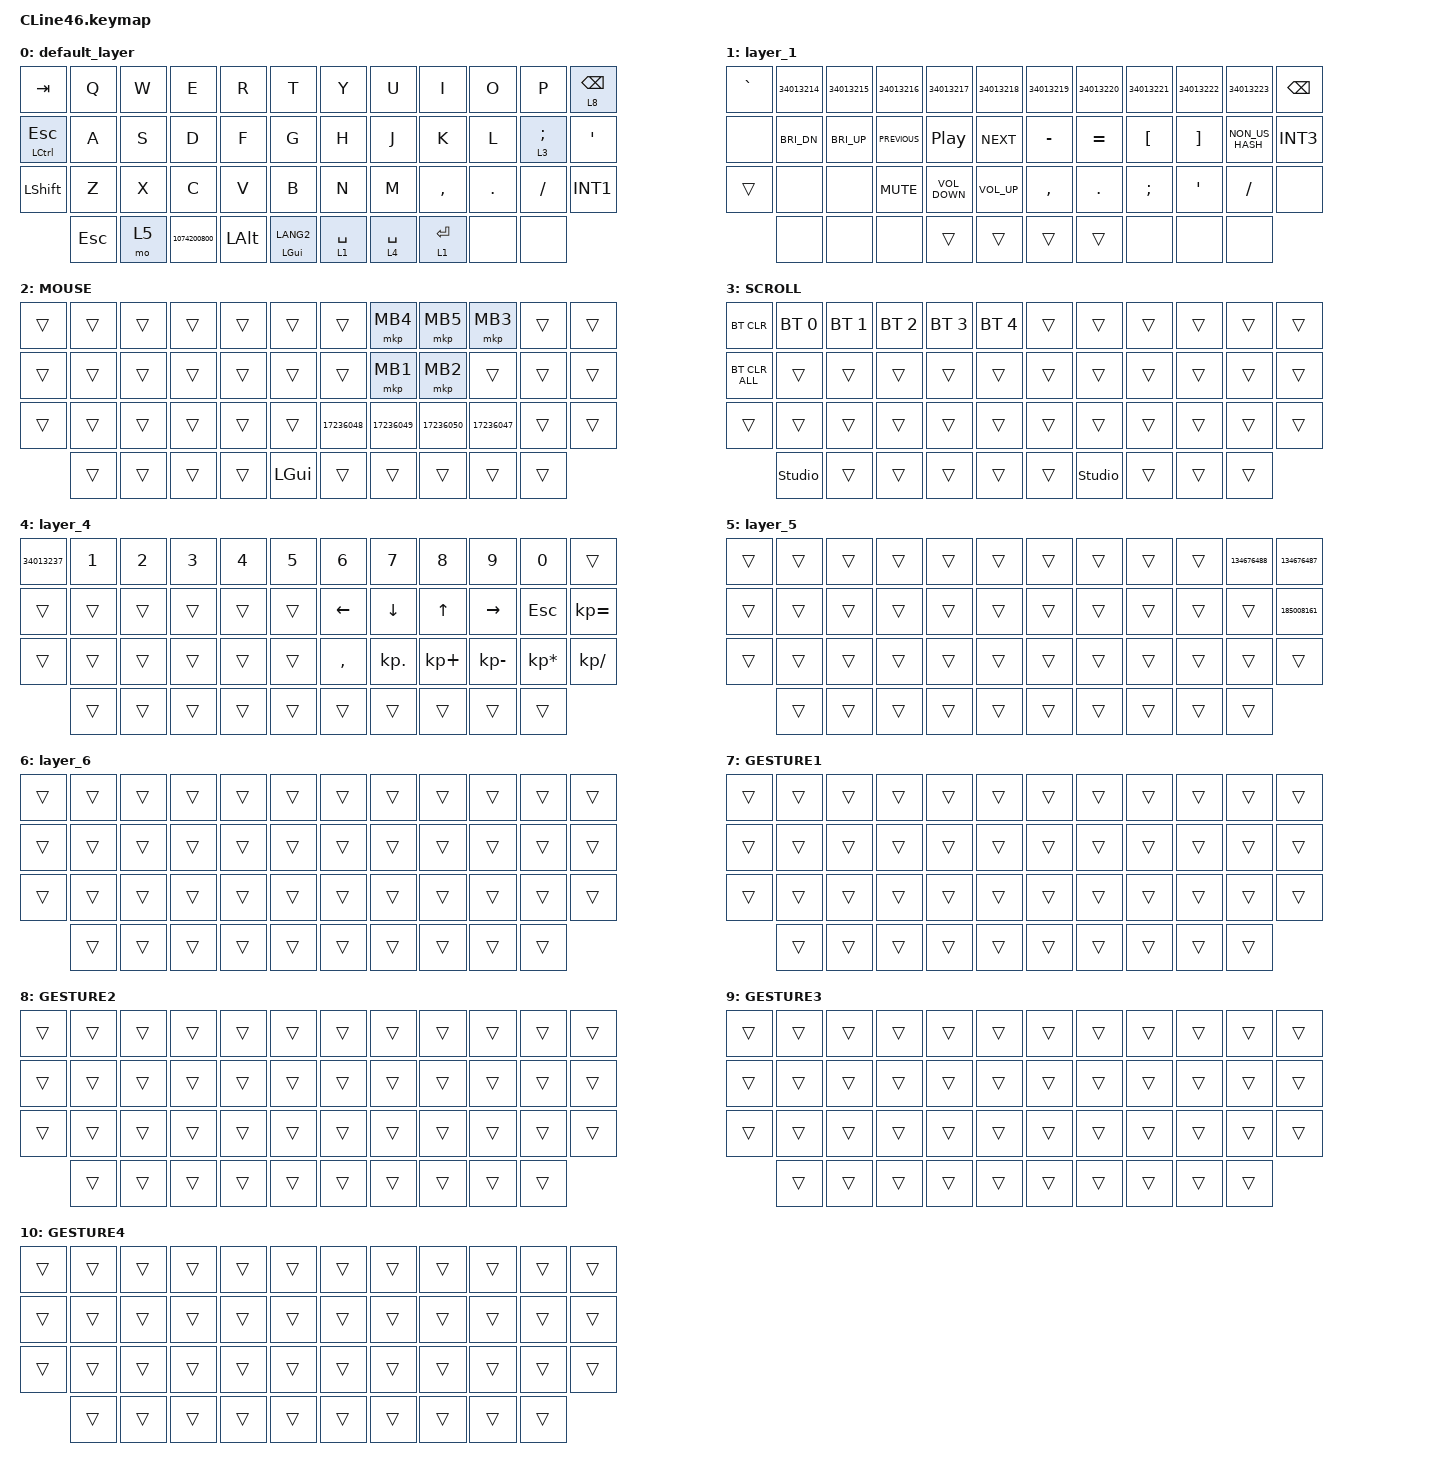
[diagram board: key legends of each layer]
#include <input/processors.dtsi>
#include <dt-bindings/zmk/input_transform.h>
#include <zephyr/dt-bindings/input/input-event-codes.h>
#include <behaviors.dtsi>
#include <behaviors/runtime_macro.dtsi>
#include <dt-bindings/zmk/bt.h>
#include <dt-bindings/zmk/keys.h>
#include <dt-bindings/zmk/pointing.h>

&mt {
    flavor = "balanced";
    quick-tap-ms = <0>;
};

/ {
    combos {
        compatible = "zmk,combos";

        tab {
            bindings = <&kp TAB>;
            key-positions = <11 12>;
        };

        shift_tab {
            bindings = <&kp LS(TAB)>;
            key-positions = <12 13>;
        };
    };

    // Compile-time default for the editable DYA Studio combo slot.
    // Source: https://github.com/cormoran/zmk-feature-runtime-combo/blob/d9490e7b5d41c516221d131241009e81740efcee/README.md#compile-time-default-combos
    runtime_combo_defaults {
        compatible = "cormoran,runtime-combo-defaults";

        kana {
            slot = <0>;
            key-positions = <42 43>;
            bindings = <&kp LANG1>;
            display-name = "KANA";
        };
    };

    macros {
        to_layer_0: to_layer_0 {
            compatible = "zmk,behavior-macro-one-param";
            #binding-cells = <1>;
            bindings = <&to 0 &macro_param_1to1 &kp MACRO_PLACEHOLDER>;
            label = "TO_LAYER_0";
        };
    };

    behaviors {
        lt_to_layer_0: lt_to_layer_0 {
            compatible = "zmk,behavior-hold-tap";
            label = "LAYER_TAP_TO_0";
            bindings = <&mo>, <&to_layer_0>;

            #binding-cells = <2>;
            tapping-term-ms = <200>;
        };
    };

    keymap {
        compatible = "zmk,keymap";

        default_layer {
            bindings = <
&kp TAB                    &kp Q    &kp W           &kp E          &kp R                &kp T               &kp Y         &kp U      &kp I       &kp O         &kp P       &lt 8 BACKSPACE
&mt LEFT_CONTROL ESCAPE    &kp A    &kp S           &kp D          &kp F                &kp G               &kp H         &kp J      &kp K       &kp L         &lt 3 SEMICOLON    &kp SQT
&kp LEFT_SHIFT             &kp Z    &kp X           &kp C          &kp V                &kp B               &kp N         &kp M      &kp COMMA   &kp PERIOD    &kp SLASH   &kp INT1
                           &kp ESCAPE    &mo 5    &kp 1074200800    &kp LEFT_ALT    &mt LEFT_GUI LANG2    &lt 1 SPACE    &lt 4 SPACE    &lt 1 RETURN    &none    &none
            >;
        };

        layer_1 {
            bindings = <
&kp GRAVE    &kp 34013214    &kp 34013215    &kp 34013216    &kp 34013217    &kp 34013218    &kp 34013219    &kp 34013220    &kp 34013221    &kp 34013222    &kp 34013223    &kp BACKSPACE
&none        &kp C_BRI_DN    &kp C_BRI_UP    &kp C_PREVIOUS    &kp C_PLAY_PAUSE    &kp C_NEXT    &kp MINUS    &kp EQUAL    &kp LEFT_BRACKET    &kp RIGHT_BRACKET    &kp NON_US_HASH    &kp INT3
&trans       &none    &none    &kp C_MUTE    &kp C_VOLUME_DOWN    &kp C_VOLUME_UP    &kp COMMA    &kp PERIOD    &kp SEMICOLON    &kp SQT    &kp SLASH    &none
             &none    &none    &none    &trans    &trans    &trans    &trans    &none    &none    &none
            >;
        };

        MOUSE {
            bindings = <
&trans    &trans    &trans    &trans    &trans    &trans    &trans    &mkp MB4    &mkp MB5    &mkp MB3    &trans    &trans
&trans    &trans    &trans    &trans    &trans    &trans    &trans    &mkp MB1    &mkp MB2    &trans      &trans    &trans
&trans    &trans    &trans    &trans    &trans    &trans    &kp 17236048    &kp 17236049    &kp 17236050    &kp 17236047    &trans    &trans
          &trans    &trans    &trans    &trans    &kp LEFT_GUI    &trans    &trans    &trans    &trans    &trans
            >;
        };

        SCROLL {
            bindings = <
&bt BT_CLR        &bt BT_SEL 0    &bt BT_SEL 1    &bt BT_SEL 2    &bt BT_SEL 3    &bt BT_SEL 4    &trans    &trans    &trans    &trans    &trans    &trans
&bt BT_CLR_ALL    &trans          &trans          &trans          &trans          &trans          &trans    &trans    &trans    &trans    &trans    &trans
&trans            &trans          &trans          &trans          &trans          &trans          &trans    &trans    &trans    &trans    &trans    &trans
                  &studio_unlock    &trans    &trans    &trans    &trans    &trans    &studio_unlock    &trans    &trans    &trans
            >;
        };

        layer_4 {
            bindings = <
&kp 34013237    &kp N1    &kp N2    &kp N3    &kp N4    &kp N5    &kp N6       &kp N7       &kp N8         &kp N9          &kp N0             &trans
&trans          &trans    &trans    &trans    &trans    &trans    &kp LEFT     &kp DOWN     &kp UP         &kp RIGHT       &kp ESCAPE         &kp KP_EQUAL
&trans          &trans    &trans    &trans    &trans    &trans    &kp COMMA    &kp KP_DOT   &kp KP_PLUS    &kp KP_MINUS    &kp KP_ASTERISK    &kp KP_DIVIDE
                &trans    &trans    &trans    &trans    &trans    &trans    &trans    &trans    &trans    &trans
            >;
        };

        layer_5 {
            bindings = <
&trans    &trans    &trans    &trans    &trans    &trans    &trans    &trans    &trans    &trans    &kp 134676488    &kp 134676487
&trans    &trans    &trans    &trans    &trans    &trans    &trans    &trans    &trans    &trans    &trans          &kp 185008161
&trans    &trans    &trans    &trans    &trans    &trans    &trans    &trans    &trans    &trans    &trans          &trans
          &trans    &trans    &trans    &trans    &trans    &trans    &trans    &trans    &trans    &trans
            >;
        };

        layer_6 {
            bindings = <
&trans    &trans    &trans    &trans    &trans    &trans    &trans    &trans    &trans    &trans    &trans    &trans
&trans    &trans    &trans    &trans    &trans    &trans    &trans    &trans    &trans    &trans    &trans    &trans
&trans    &trans    &trans    &trans    &trans    &trans    &trans    &trans    &trans    &trans    &trans    &trans
          &trans    &trans    &trans    &trans    &trans    &trans    &trans    &trans    &trans    &trans
            >;
        };

        gesture1_layer {
            display-name = "GESTURE1";
            bindings = <
&trans    &trans    &trans    &trans    &trans    &trans    &trans    &trans    &trans    &trans    &trans    &trans
&trans    &trans    &trans    &trans    &trans    &trans    &trans    &trans    &trans    &trans    &trans    &trans
&trans    &trans    &trans    &trans    &trans    &trans    &trans    &trans    &trans    &trans    &trans    &trans
          &trans    &trans    &trans    &trans    &trans    &trans    &trans    &trans    &trans    &trans
            >;
        };

        gesture2_layer {
            display-name = "GESTURE2";
            bindings = <
&trans    &trans    &trans    &trans    &trans    &trans    &trans    &trans    &trans    &trans    &trans    &trans
&trans    &trans    &trans    &trans    &trans    &trans    &trans    &trans    &trans    &trans    &trans    &trans
&trans    &trans    &trans    &trans    &trans    &trans    &trans    &trans    &trans    &trans    &trans    &trans
          &trans    &trans    &trans    &trans    &trans    &trans    &trans    &trans    &trans    &trans
            >;
        };

        gesture3_layer {
            display-name = "GESTURE3";
            bindings = <
&trans    &trans    &trans    &trans    &trans    &trans    &trans    &trans    &trans    &trans    &trans    &trans
&trans    &trans    &trans    &trans    &trans    &trans    &trans    &trans    &trans    &trans    &trans    &trans
&trans    &trans    &trans    &trans    &trans    &trans    &trans    &trans    &trans    &trans    &trans    &trans
          &trans    &trans    &trans    &trans    &trans    &trans    &trans    &trans    &trans    &trans
            >;
        };

        gesture4_layer {
            display-name = "GESTURE4";
            bindings = <
&trans    &trans    &trans    &trans    &trans    &trans    &trans    &trans    &trans    &trans    &trans    &trans
&trans    &trans    &trans    &trans    &trans    &trans    &trans    &trans    &trans    &trans    &trans    &trans
&trans    &trans    &trans    &trans    &trans    &trans    &trans    &trans    &trans    &trans    &trans    &trans
          &trans    &trans    &trans    &trans    &trans    &trans    &trans    &trans    &trans    &trans
            >;
        };
    };
};
